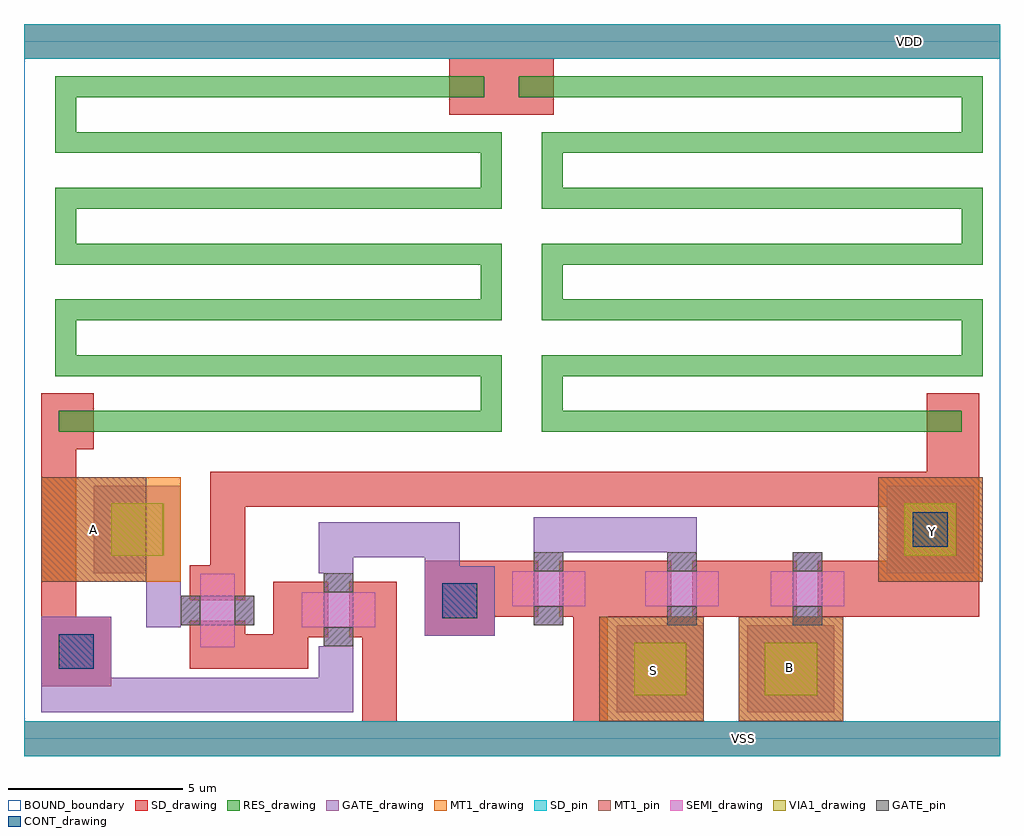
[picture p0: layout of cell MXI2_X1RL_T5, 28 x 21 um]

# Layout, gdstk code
from math import pi, radians
import gdstk
lib = gdstk.Library(unit=1e-6, precision=1e-09)
def R(c, l, rs):  # rectangles x0, y0, x1, y1
    for r in rs: c.add(gdstk.rectangle(r[:2], r[2:], *l))
def P(c, l, *ps):  # polygons
    for p in ps: c.add(gdstk.Polygon(p, *l))
RES_drawing = (1, 0)
SEMI_drawing = (3, 0)
SD_drawing = (10, 0)
SD_pin = (10, 3)
GATE_drawing = (11, 0)
GATE_pin = (11, 3)
MT1_drawing = (20, 0)
MT1_pin = (20, 3)
CONT_drawing = (30, 0)
VIA1_drawing = (41, 0)
BOUND_boundary = (150, 5)

res_cdns_772544980980 = lib.new_cell('res_CDNS_772544980980')
R(res_cdns_772544980980, SD_drawing, [(0.5,8.3,2,9.9), (12.2,17.9,13.7,19.5)])
res_cdns_772544980980.add(gdstk.FlexPath([(2,9.1),(13,9.1),(13,10.7),(0.8,10.7),(0.8,12.3),(13,12.3),(13,13.9),(0.8,13.9),(0.8,15.5),(13,15.5),(13,17.1),(0.8,17.1),(0.8,18.7),(12.2,18.7)], 0.6, ends=(1, 1), simple_path=True, layer=1, datatype=0))  # RES_drawing

nch_cdns_772544980981 = lib.new_cell('nch_CDNS_772544980981')
R(nch_cdns_772544980981, SEMI_drawing, [(-1.05,-0.5,1.05,0.5)])
R(nch_cdns_772544980981, SD_drawing, [(-1.3,-0.8,-0.3,0.8), (0.3,-0.8,1.3,0.8)])
R(nch_cdns_772544980981, GATE_drawing, [(-0.425,-1.05,0.425,1.05)])
R(nch_cdns_772544980981, GATE_pin, [(-0.425,-1.05,0.425,-0.5), (-0.425,0.5,0.425,1.05)])

sd_gate_cdns_77254498098 = lib.new_cell('SD_GATE_CDNS_772544980980')
R(sd_gate_cdns_77254498098, SD_drawing, [(-1,-1,1,1)])
R(sd_gate_cdns_77254498098, GATE_drawing, [(-1,-1,1,1)])
R(sd_gate_cdns_77254498098, CONT_drawing, [(-0.5,-0.5,0.5,0.5)])

gate_mt1_cdns_7725449809 = lib.new_cell('GATE_MT1_CDNS_772544980981')
R(gate_mt1_cdns_7725449809, GATE_drawing, [(-1.25,-1.25,1.25,1.25)])
R(gate_mt1_cdns_7725449809, MT1_drawing, [(-1.25,-1.25,1.25,1.25)])
R(gate_mt1_cdns_7725449809, VIA1_drawing, [(-0.75,-0.75,0.75,0.75)])

gate_mt1_stack_cdns_7725 = lib.new_cell('GATE_MT1_STACK_CDNS_772544980982')
R(gate_mt1_stack_cdns_7725, GATE_drawing, [(-1.25,-1.25,1.25,1.25)])
R(gate_mt1_stack_cdns_7725, MT1_drawing, [(-1.25,-1.25,1.25,1.25)])
R(gate_mt1_stack_cdns_7725, VIA1_drawing, [(-0.75,-0.75,0.75,0.75)])

mxi2_x1rl_t5 = lib.new_cell('MXI2_X1RL_T5')
R(mxi2_x1rl_t5, SD_drawing, [(25.9,3.5,27.4,9.9), (24.75,4.75,27.25,7.25), (12.2,17.9,15.2,19.5)])
R(mxi2_x1rl_t5, SD_pin, [(0,-0.5,28,0.5), (0,19.5,28,20.5)])
R(mxi2_x1rl_t5, GATE_drawing, [(4.425,3.2,4.5,4.2)])
P(mxi2_x1rl_t5, GATE_drawing, [(19.3,5.45),(18.45,5.45),(18.45,5.35),(18.55,5.35),(18.55,5.3),(19.3,5.3)],
  [(18.35,3.15),(19.25,3.15),(19.25,3.3),(18.5,3.3),(18.5,3.25),(18.35,3.25)],
  [(21.95,3.15),(22.85,3.15),(22.85,3.3),(22.1,3.3),(22.1,3.25),(21.95,3.25)],
  [(8.45,2.55),(9.45,2.55),(9.45,2.7),(8.7,2.7),(8.7,2.65),(8.45,2.65)],
  [(15.525,5.45),(14.625,5.45),(14.625,5.3),(15.375,5.3),(15.375,5.35),(15.525,5.35)],
  [(9.45,4.85),(8.45,4.85),(8.45,4.75),(8.7,4.75),(8.7,4.7),(9.45,4.7)])
R(mxi2_x1rl_t5, MT1_drawing, [(16.5,0.5,19.5,3.5), (20.5,0.5,23.5,3.5), (0.5,4.5,4.5,7.5), (24.5,4.5,27.5,7.5)])
R(mxi2_x1rl_t5, MT1_pin, [(16.5,0.5,19.5,3.5), (20.5,0.5,23.5,3.5), (0.5,4.5,3.5,7.5), (24.5,4.5,27.5,7.5)])
R(mxi2_x1rl_t5, BOUND_boundary, [(0,0,28,20)])
mxi2_x1rl_t5.add(gdstk.FlexPath([(1,8.3),(1,2.5)], 1, ends=(0, 1), simple_path=True, layer=10, datatype=0))  # SD_drawing
mxi2_x1rl_t5.add(gdstk.FlexPath([(7.65,2.5),(7.65,4)], 1, ends="extended", simple_path=True, layer=10, datatype=0))  # SD_drawing
mxi2_x1rl_t5.add(gdstk.FlexPath([(0,20),(28,20)], 1, ends="flush", simple_path=True, layer=10, datatype=0))  # SD_drawing
mxi2_x1rl_t5.add(gdstk.FlexPath([(17.575,4.3),(16.075,4.3)], 1.6, ends="flush", simple_path=True, layer=10, datatype=0))  # SD_drawing
mxi2_x1rl_t5.add(gdstk.FlexPath([(16.25,1),(16.25,2.8)], 1, ends=(0.5, 0.7), simple_path=True, layer=10, datatype=0))  # SD_drawing
mxi2_x1rl_t5.add(gdstk.FlexPath([(21.175,4.3),(20.175,4.3)], 1.6, ends="flush", simple_path=True, layer=10, datatype=0))  # SD_drawing
mxi2_x1rl_t5.add(gdstk.FlexPath([(10.2,4.5),(10.2,1)], 1, ends=(0, 0.5), simple_path=True, layer=10, datatype=0))  # SD_drawing
mxi2_x1rl_t5.add(gdstk.FlexPath([(13.85,4.4),(11.5,4.4)], 1.4, ends="flush", simple_path=True, layer=10, datatype=0))  # SD_drawing
mxi2_x1rl_t5.add(gdstk.FlexPath([(5.85,4.675),(5.85,7.15)], 1, ends=(0.7, 0.5), simple_path=True, layer=10, datatype=0))  # SD_drawing
mxi2_x1rl_t5.add(gdstk.FlexPath([(5.85,7.15),(26.35,7.15)], 1, ends="extended", simple_path=True, layer=10, datatype=0))  # SD_drawing
mxi2_x1rl_t5.add(gdstk.FlexPath([(4.75,2.5),(7.65,2.5)], 1, ends=(0, 0.5), simple_path=True, layer=10, datatype=0))  # SD_drawing
mxi2_x1rl_t5.add(gdstk.FlexPath([(2,2.5),(1.5,2.5)], 2, ends=(0.5, 0), simple_path=True, layer=10, datatype=0))  # SD_drawing
mxi2_x1rl_t5.add(gdstk.FlexPath([(0,0),(28,0)], 1, ends="flush", simple_path=True, layer=10, datatype=0))  # SD_drawing
mxi2_x1rl_t5.add(gdstk.FlexPath([(23.6,4.3),(27.25,4.3)], 1.6, ends="flush", simple_path=True, layer=10, datatype=0))  # SD_drawing
mxi2_x1rl_t5.add(gdstk.FlexPath([(13.85,4.2),(11.7,4.2)], 1.4, ends="flush", simple_path=True, layer=10, datatype=0))  # SD_drawing
mxi2_x1rl_t5.add(gdstk.FlexPath([(18.8,5.85),(15.125,5.85)], 1, ends="extended", simple_path=True, layer=11, datatype=0))  # GATE_drawing
mxi2_x1rl_t5.add(gdstk.FlexPath([(8.95,4.85),(8.95,5.7)], 1, ends=(0, 0.5), simple_path=True, layer=11, datatype=0))  # GATE_drawing
mxi2_x1rl_t5.add(gdstk.FlexPath([(8.95,5.7),(12,5.7)], 1, ends="extended", simple_path=True, layer=11, datatype=0))  # GATE_drawing
mxi2_x1rl_t5.add(gdstk.FlexPath([(12,5.7),(12,5.45)], 1, ends="extended", simple_path=True, layer=11, datatype=0))  # GATE_drawing
mxi2_x1rl_t5.add(gdstk.FlexPath([(8.95,2.55),(8.95,1.25)], 1, ends=(0, 0.5), simple_path=True, layer=11, datatype=0))  # GATE_drawing
mxi2_x1rl_t5.add(gdstk.FlexPath([(8.95,1.25),(1,1.25)], 1, ends="extended", simple_path=True, layer=11, datatype=0))  # GATE_drawing
mxi2_x1rl_t5.add(gdstk.FlexPath([(4,3.7),(4,6.75)], 1, ends="extended", simple_path=True, layer=11, datatype=0))  # GATE_drawing
mxi2_x1rl_t5.add(gdstk.FlexPath([(26.9,9.1),(15.15,9.1),(15.15,10.7),(27.2,10.7),(27.2,12.3),(15.15,12.3),(15.15,13.9),(27.2,13.9),(27.2,15.5),(15.15,15.5),(15.15,17.1),(27.2,17.1),(27.2,18.7),(14.2,18.7)], 0.6, ends="flush", simple_path=True, layer=1, datatype=0))  # RES_drawing
mxi2_x1rl_t5.add(gdstk.Reference(res_cdns_772544980980, (14.2,27.8), rotation=pi))
mxi2_x1rl_t5.add(gdstk.Reference(nch_cdns_772544980981, (18.875,4.3)))
mxi2_x1rl_t5.add(gdstk.Reference(nch_cdns_772544980981, (22.475,4.3)))
mxi2_x1rl_t5.add(gdstk.Reference(nch_cdns_772544980981, (5.55,3.675), rotation=pi/2))
mxi2_x1rl_t5.add(gdstk.Reference(nch_cdns_772544980981, (15.05,4.3), rotation=pi, x_reflection=True))
mxi2_x1rl_t5.add(gdstk.Reference(nch_cdns_772544980981, (9.025,3.7), rotation=pi, x_reflection=True))
mxi2_x1rl_t5.add(gdstk.Reference(sd_gate_cdns_77254498098, (26,6)))
mxi2_x1rl_t5.add(gdstk.Reference(sd_gate_cdns_77254498098, (1.5,2.5)))
mxi2_x1rl_t5.add(gdstk.Reference(sd_gate_cdns_77254498098, (12.5,3.95)))
mxi2_x1rl_t5.add(gdstk.Reference(gate_mt1_cdns_7725449809, (26,6)))
mxi2_x1rl_t5.add(gdstk.Reference(gate_mt1_stack_cdns_7725, (22,2)))
mxi2_x1rl_t5.add(gdstk.Reference(gate_mt1_stack_cdns_7725, (18.25,2)))
mxi2_x1rl_t5.add(gdstk.Reference(gate_mt1_stack_cdns_7725, (3.25,6)))
mxi2_x1rl_t5.add(gdstk.Label('Y', (26.05,5.95), layer=20, texttype=3))
mxi2_x1rl_t5.add(gdstk.Label('B', (21.95,2.05), layer=20, texttype=3))
mxi2_x1rl_t5.add(gdstk.Label('S', (18.05,1.95), layer=20, texttype=3))
mxi2_x1rl_t5.add(gdstk.Label('A', (2,6), layer=20, texttype=3))
mxi2_x1rl_t5.add(gdstk.Label('VDD', (25.4,20), layer=10, texttype=3))
mxi2_x1rl_t5.add(gdstk.Label('VSS', (20.65,0), layer=10, texttype=3))

lib.write_gds('MXI2_X1RL_T5.gds')
